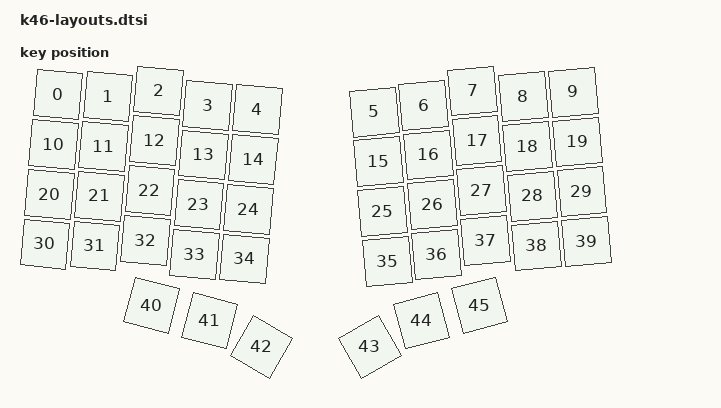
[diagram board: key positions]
// See https://zmk.dev/docs/development/hardware-integration/physical-layouts
// for how to configure this.

#include <physical_layouts.dtsi>

/ {
    default_layout: default_layout {
        compatible = "zmk,physical-layout";
        display-name = "Default Layout";
        transform = <&default_transform>;
        kscan = <&kscan>;

        // Edit this to define the positions and sizes of the keys, or remove it
        // if your keyboard will not support ZMK Studio.
        // https://zmk.dev/docs/development/hardware-integration/physical-layouts#optional-keys-property
      keys  //                     w   h    x    y     rot    rx    ry
            = <&key_physical_attrs 100 100    0   25     500   430   455>
            , <&key_physical_attrs 100 100  100   20     500   430   455>
            , <&key_physical_attrs 100 100  200    0     500   430   455>
            , <&key_physical_attrs 100 100  300   20     500   430   455>
            , <&key_physical_attrs 100 100  400   20     500   430   455>
            , <&key_physical_attrs 100 100  700   25  (-500)   770   455>
            , <&key_physical_attrs 100 100  800   20  (-500)   770   455>
            , <&key_physical_attrs 100 100  900    0  (-500)   770   455>
            , <&key_physical_attrs 100 100 1000   20  (-500)   770   455>
            , <&key_physical_attrs 100 100 1100   20  (-500)   770   455>
            , <&key_physical_attrs 100 100    0  125     500   430   455>
            , <&key_physical_attrs 100 100  100  120     500   430   455>
            , <&key_physical_attrs 100 100  200  100     500   430   455>
            , <&key_physical_attrs 100 100  300  120     500   430   455>
            , <&key_physical_attrs 100 100  400  120     500   430   455>
            , <&key_physical_attrs 100 100  700  125  (-500)   770   455>
            , <&key_physical_attrs 100 100  800  120  (-500)   770   455>
            , <&key_physical_attrs 100 100  900  100  (-500)   770   455>
            , <&key_physical_attrs 100 100 1000  120  (-500)   770   455>
            , <&key_physical_attrs 100 100 1100  120  (-500)   770   455>
            , <&key_physical_attrs 100 100    0  225     500   430   455>
            , <&key_physical_attrs 100 100  100  220     500   430   455>
            , <&key_physical_attrs 100 100  200  200     500   430   455>
            , <&key_physical_attrs 100 100  300  220     500   430   455>
            , <&key_physical_attrs 100 100  400  220     500   430   455>
            , <&key_physical_attrs 100 100  700  225  (-500)   770   455>
            , <&key_physical_attrs 100 100  800  220  (-500)   770   455>
            , <&key_physical_attrs 100 100  900  200  (-500)   770   455>
            , <&key_physical_attrs 100 100 1000  220  (-500)   770   455>
            , <&key_physical_attrs 100 100 1100  220  (-500)   770   455>
            , <&key_physical_attrs 100 100    0  325     500   430   455>
            , <&key_physical_attrs 100 100  100  320     500   430   455>
            , <&key_physical_attrs 100 100  200  300     500   430   455>
            , <&key_physical_attrs 100 100  300  320     500   430   455>
            , <&key_physical_attrs 100 100  400  320     500   430   455>
            , <&key_physical_attrs 100 100  700  325  (-500)   770   455>
            , <&key_physical_attrs 100 100  800  320  (-500)   770   455>
            , <&key_physical_attrs 100 100  900  300  (-500)   770   455>
            , <&key_physical_attrs 100 100 1000  320  (-500)   770   455>
            , <&key_physical_attrs 100 100 1100  320  (-500)   770   455>
            , <&key_physical_attrs 100 100  230  455    1500   430   455>
            , <&key_physical_attrs 100 100  350  455    1500   430   455>
            , <&key_physical_attrs 100 100  480  455    3000   430   455>
            , <&key_physical_attrs 100 100  620  455 (-3000)   770   455>
            , <&key_physical_attrs 100 100  750  455 (-1500)   770   455>
            , <&key_physical_attrs 100 100  870  455 (-1500)   770   455>
            ;
    };
};
